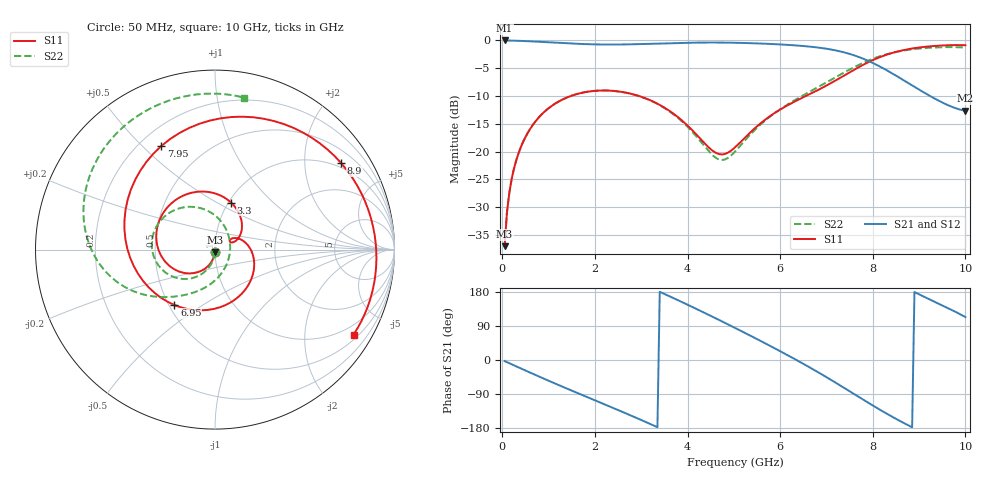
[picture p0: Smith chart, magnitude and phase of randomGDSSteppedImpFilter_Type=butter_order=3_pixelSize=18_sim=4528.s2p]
! freq	dB(S11)	phase(S11)	dB(S12)	phase(S12)
!  dB(S21)	phase(S21)	dB(S22)	phase(S22)
!S-par simulation data
#  GHz  S  DB  R 50
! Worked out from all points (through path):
!   200 points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, 50 MHz to 10 GHz, reference 50 ohm
!   highest |S21| = 0.00 dB at 50 MHz (marker M1); lowest = -12.6 dB at 10 GHz (marker M2)
!   group delay of S21, straight-line fit = 171 ps
!   lowest |S11| = -37.0 dB at 50 MHz (marker M3), VSWR 1.03, Z = 49.9 - j1.41 ohm
!   |S11| at or under -10 dB: start of sweep to 1.479 GHz; 2.952 GHz to 6.555 GHz (3.604 GHz wide, 75.8 % of centre)
!   |S22| runs from -37.0 to -1.2 dB; largest |S21 - S12| = 0
!   S11 on the Smith chart (normalised r, x): 50 MHz: 1.00, -0.03; 3.3 GHz: 1.03, +0.58; 6.95 GHz: 0.53, -0.39; 7.95 GHz: 0.29, +0.57; 8.9 GHz: 0.85, +3.00; 10 GHz: 0.65, -3.43
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0.05  -37.01 -92.9  -0.00 -2.8  -0.00 -2.8  -36.99 -92.2
0.1  -31.00 -96.2  -0.01 -5.6  -0.01 -5.6  -30.99 -94.8
0.2  -25.04 -102.6  -0.03 -11.2  -0.03 -11.2  -25.04 -99.9
0.5  -17.39 -121.6  -0.12 -27.8  -0.12 -27.8  -17.37 -114.8
1.15  -11.32 -161.1  -0.41 -62.6  -0.41 -62.6  -11.31 -145.4
1.75  -9.37 163.4  -0.65 -93.6  -0.65 -93.6  -9.36 -171.9
2.5  -9.17 119.2  -0.73 -132.0  -0.73 -132.0  -9.17 155.9
3.3  -11.17 71.0  -0.58 -174.5  -0.58 -174.5  -11.21 119.9
3.4  -11.60 65.0  -0.55 179.9  -0.55 179.9  -11.66 115.0
4.15  -16.56 26.8  -0.40 137.2  -0.40 137.2  -16.88 69.6
4.65  -20.37 25.8  -0.38 107.5  -0.38 107.5  -21.31 10.3
5.05  -19.05 33.3  -0.42 83.2  -0.42 83.2  -19.78 -49.7
5.5  -15.45 15.2  -0.53 55.2  -0.53 55.2  -15.72 -86.9
5.95  -12.69 -19.7  -0.70 26.5  -0.70 26.5  -12.67 -108.4
6.7  -9.41 -96.8  -1.16 -23.9  -1.16 -23.9  -8.94 -132.6
6.95  -8.34 -126.2  -1.43 -41.6  -1.43 -41.6  -7.78 -139.8
7.5  -5.74 167.6  -2.43 -82.5  -2.43 -82.5  -5.23 -158.0
7.95  -3.74 117.3  -3.86 -116.3  -3.86 -116.3  -3.47 -176.8
8.35  -2.43 78.4  -5.60 -145.0  -5.60 -145.0  -2.37 164.5
8.9  -1.39 34.5  -8.35 179.4  -8.35 179.4  -1.54 137.5
9.45  -0.93 -0.7  -10.95 147.0  -10.95 147.0  -1.23 109.7
10  -0.86 -31.5  -12.65 113.3  -12.65 113.3  -1.29 79.3
